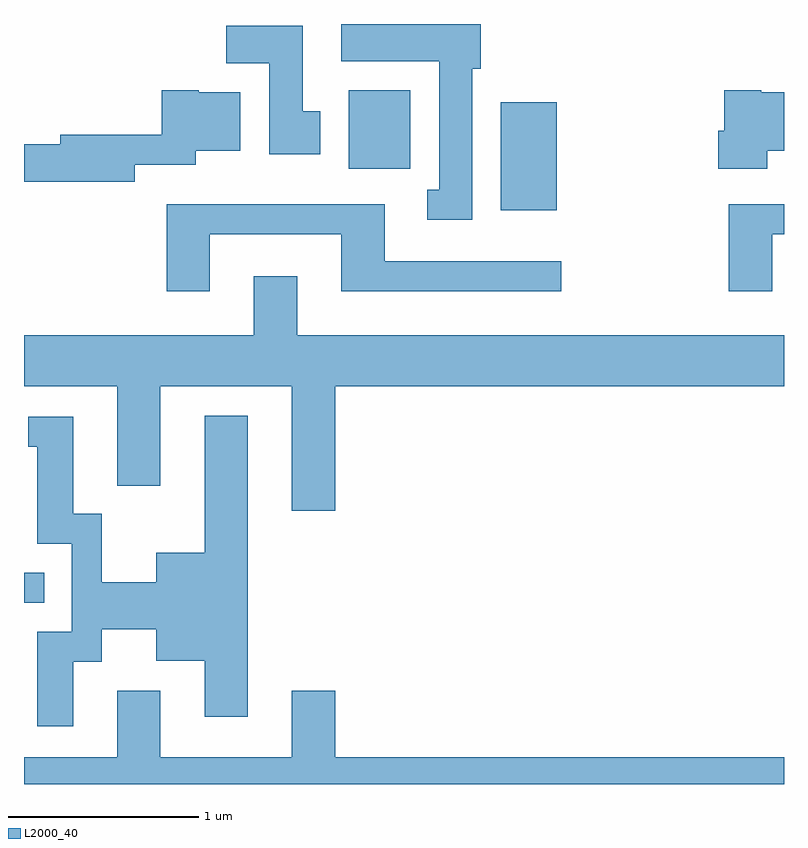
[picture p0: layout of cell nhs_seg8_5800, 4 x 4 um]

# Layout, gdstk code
import gdstk
lib = gdstk.Library(unit=1e-6, precision=1e-09)
def R(c, l, rs):  # rectangles x0, y0, x1, y1
    for r in rs: c.add(gdstk.rectangle(r[:2], r[2:], *l))
def P(c, l, *ps):  # polygons
    for p in ps: c.add(gdstk.Polygon(p, *l))
L2000_40 = (2000, 40)

nhs_seg8_5800 = lib.new_cell('nhs_seg8_5800')
R(nhs_seg8_5800, L2000_40, [(359.611,1815.296,359.718,1815.454), (362.121,1817.361,362.414,1817.929), (361.321,1817.581,361.644,1817.994)])
P(nhs_seg8_5800, L2000_40, [(361.969,1818.106),(362.014,1818.106),(362.014,1818.342),(361.281,1818.342),(361.281,1818.146),(361.796,1818.146),(361.796,1817.469),(361.733,1817.469),(361.733,1817.311),(361.969,1817.311)],
  [(361.169,1817.884),(361.079,1817.884),(361.079,1818.334),(360.676,1818.334),(360.676,1818.136),(360.901,1818.136),(360.901,1817.656),(361.169,1817.656)],
  [(360.194,1817.601),(360.514,1817.601),(360.514,1817.676),(360.749,1817.676),(360.749,1817.984),(360.53,1817.984),(360.53,1817.994),(360.336,1817.994),(360.336,1817.759),(359.801,1817.759),(359.801,1817.709),(359.611,1817.709),(359.611,1817.511),(360.194,1817.511)],
  [(363.524,1817.676),(363.611,1817.676),(363.611,1817.984),(363.49,1817.984),(363.49,1817.994),(363.296,1817.994),(363.296,1817.779),(363.266,1817.779),(363.266,1817.581),(363.524,1817.581)],
  [(363.549,1817.236),(363.611,1817.236),(363.611,1817.394),(363.321,1817.394),(363.321,1816.936),(363.549,1816.936)],
  [(360.589,1817.236),(361.281,1817.236),(361.281,1816.936),(362.438,1816.936),(362.438,1817.094),(361.509,1817.094),(361.509,1817.394),(360.361,1817.394),(360.361,1816.936),(360.589,1816.936)],
  [(361.249,1816.436),(363.611,1816.436),(363.611,1816.704),(361.049,1816.704),(361.049,1817.014),(360.821,1817.014),(360.821,1816.704),(359.611,1816.704),(359.611,1816.436),(360.101,1816.436),(360.101,1815.911),(360.329,1815.911),(360.329,1816.436),(361.021,1816.436),(361.021,1815.781),(361.249,1815.781)],
  [(359.869,1814.986),(360.019,1814.986),(360.019,1815.156),(360.306,1815.156),(360.306,1814.991),(360.561,1814.991),(360.561,1814.696),(360.789,1814.696),(360.789,1816.279),(360.561,1816.279),(360.561,1815.559),(360.306,1815.559),(360.306,1815.404),(360.019,1815.404),(360.019,1815.764),(359.869,1815.764),(359.869,1816.274),(359.633,1816.274),(359.633,1816.116),(359.681,1816.116),(359.681,1815.606),(359.861,1815.606),(359.861,1815.144),(359.681,1815.144),(359.681,1814.646),(359.869,1814.646)],
  [(363.611,1814.484),(361.249,1814.484),(361.249,1814.834),(361.021,1814.834),(361.021,1814.484),(360.329,1814.484),(360.329,1814.834),(360.101,1814.834),(360.101,1814.484),(359.611,1814.484),(359.611,1814.342),(363.611,1814.342)])

lib.write_gds('nhs_seg8_5800.gds')
